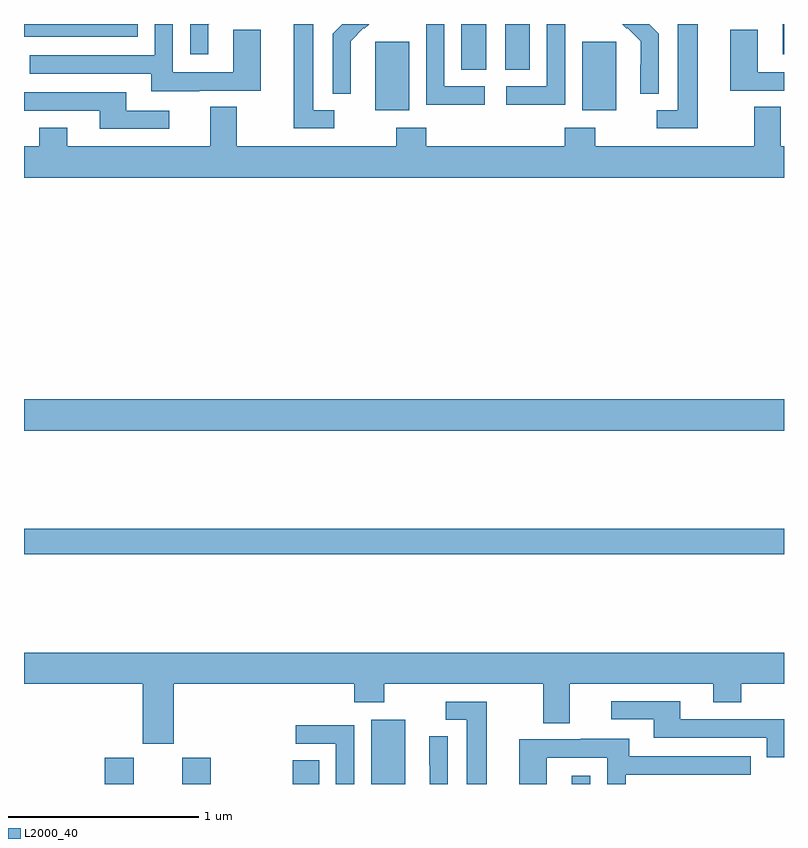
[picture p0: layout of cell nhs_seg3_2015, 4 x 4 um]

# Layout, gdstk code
import gdstk
lib = gdstk.Library(unit=1e-6, precision=1e-09)
def R(c, l, rs):  # rectangles x0, y0, x1, y1
    for r in rs: c.add(gdstk.rectangle(r[:2], r[2:], *l))
def P(c, l, *ps):  # polygons
    for p in ps: c.add(gdstk.Polygon(p, *l))
L2000_40 = (2000, 40)

nhs_seg3_2015 = lib.new_cell('nhs_seg3_2015')
R(nhs_seg3_2015, L2000_40, [(215.426,688.4,215.578,688.539), (215.834,688.4,215.982,688.539), (216.415,688.4,216.553,688.526), (216.827,688.4,217.006,688.738), (217.883,688.4,217.98,688.444), (215,689.608,219,689.744), (215,690.26,219,690.424), (216.848,691.946,217.027,692.307), (217.937,691.946,218.116,692.307), (217.301,692.158,217.432,692.4), (217.532,692.158,217.663,692.4), (215,692.334,215.598,692.4)])
P(nhs_seg3_2015, L2000_40, [(217.426,692.073),(217.212,692.073),(217.212,692.4),(217.116,692.4),(217.116,691.975),(217.426,691.975)],
  [(216.72,692.186),(216.719,692.186),(216.719,692.309),(216.789,692.379),(216.792,692.376),(216.816,692.4),(216.674,692.4),(216.624,692.35),(216.624,692.032),(216.72,692.032)],
  [(218.34,692.35),(218.29,692.4),(218.148,692.4),(218.172,692.376),(218.175,692.379),(218.246,692.309),(218.246,692.186),(218.244,692.186),(218.244,692.032),(218.34,692.032)],
  [(217.848,692.4),(217.752,692.4),(217.752,692.073),(217.539,692.073),(217.539,691.975),(217.848,691.975)],
  [(219,692.4),(218.99,692.4),(218.993,692.397),(218.993,692.241),(219,692.241)],
  [(218.545,692.4),(218.441,692.4),(218.441,691.947),(218.331,691.947),(218.331,691.851),(218.545,691.851)],
  [(216.634,691.947),(216.523,691.947),(216.523,692.4),(216.419,692.4),(216.419,691.851),(216.634,691.851)],
  [(215.971,692.397),(215.974,692.4),(215.874,692.4),(215.874,692.241),(215.971,692.241)],
  [(215.923,692.049),(216.247,692.049),(216.247,692.369),(216.102,692.369),(216.102,692.145),(215.784,692.145),(215.784,692.4),(215.688,692.4),(215.688,692.235),(215.029,692.235),(215.029,692.139),(215.669,692.139),(215.669,692.045),(215.923,692.045)],
  [(219,692.145),(218.862,692.145),(218.862,692.369),(218.717,692.369),(218.717,692.049),(219,692.049)],
  [(215.764,691.944),(215.539,691.944),(215.539,692.04),(215,692.04),(215,691.944),(215.399,691.944),(215.399,691.848),(215.764,691.848)],
  [(216.958,691.855),(216.958,691.756),(216.121,691.756),(216.121,691.964),(215.981,691.964),(215.981,691.756),(215.227,691.756),(215.227,691.855),(215.08,691.855),(215.08,691.756),(215,691.756),(215,691.592),(219,691.592),(219,691.756),(218.983,691.756),(218.983,691.964),(218.843,691.964),(218.843,691.756),(218.007,691.756),(218.007,691.855),(217.847,691.855),(217.847,691.756),(217.118,691.756),(217.118,691.855)],
  [(215.788,688.928),(216.737,688.928),(216.737,688.829),(216.897,688.829),(216.897,688.928),(217.733,688.928),(217.733,688.72),(217.873,688.72),(217.873,688.928),(218.627,688.928),(218.627,688.829),(218.775,688.829),(218.775,688.928),(219,688.928),(219,689.092),(215,689.092),(215,688.928),(215.624,688.928),(215.624,688.611),(215.788,688.611)],
  [(219,688.74),(218.455,688.74),(218.455,688.836),(218.091,688.836),(218.091,688.74),(218.315,688.74),(218.315,688.644),(218.91,688.644),(218.91,688.541),(219,688.541)],
  [(217.435,688.833),(217.221,688.833),(217.221,688.737),(217.331,688.737),(217.331,688.4),(217.435,688.4)],
  [(216.738,688.71),(216.429,688.71),(216.429,688.611),(216.642,688.611),(216.642,688.4),(216.738,688.4)],
  [(217.23,688.652),(217.134,688.652),(217.134,688.498),(217.136,688.498),(217.136,688.4),(217.23,688.4)],
  [(217.752,688.539),(218.07,688.539),(218.07,688.4),(218.166,688.4),(218.166,688.449),(218.825,688.449),(218.825,688.545),(218.185,688.545),(218.185,688.639),(217.931,688.639),(217.931,688.635),(217.607,688.635),(217.607,688.4),(217.752,688.4)])

lib.write_gds('nhs_seg3_2015.gds')
